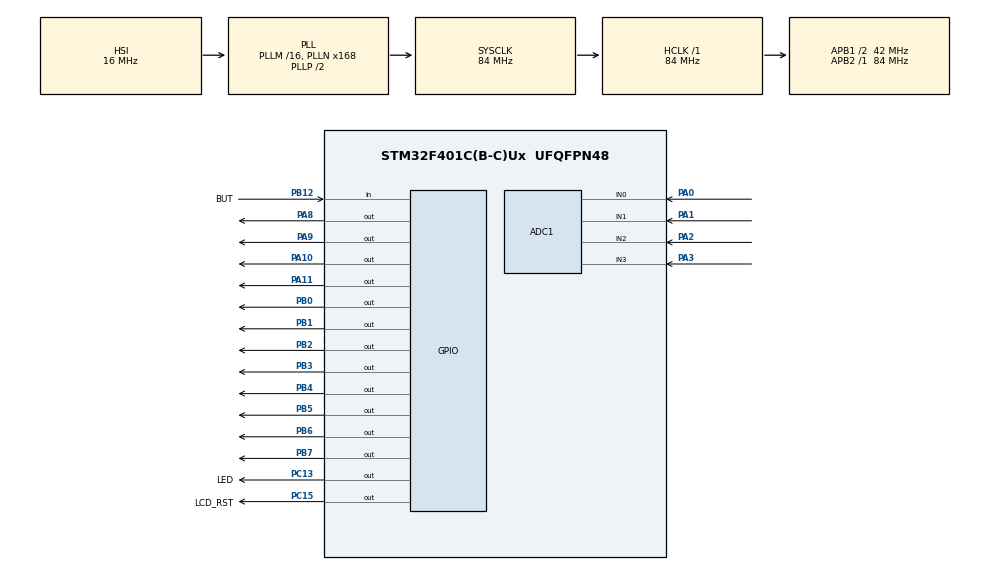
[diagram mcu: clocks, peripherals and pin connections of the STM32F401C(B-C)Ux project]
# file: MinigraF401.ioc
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ADC1.Channel-0\#ChannelRegularConversion=ADC_CHANNEL_0
ADC1.Channel-1\#ChannelRegularConversion=ADC_CHANNEL_1
ADC1.Channel-2\#ChannelRegularConversion=ADC_CHANNEL_2
ADC1.Channel-3\#ChannelRegularConversion=ADC_CHANNEL_3
ADC1.ContinuousConvMode=DISABLE
ADC1.DMAContinuousRequests=ENABLE
ADC1.EOCSelection=ADC_EOC_SEQ_CONV
ADC1.NbrOfConversion=4
ADC1.NbrOfConversionFlag=1
ADC1.Rank-0\#ChannelRegularConversion=1
ADC1.Rank-1\#ChannelRegularConversion=2
ADC1.Rank-2\#ChannelRegularConversion=3
ADC1.Rank-3\#ChannelRegularConversion=4
ADC1.SamplingTime-0\#ChannelRegularConversion=ADC_SAMPLETIME_3CYCLES
ADC1.SamplingTime-1\#ChannelRegularConversion=ADC_SAMPLETIME_3CYCLES
ADC1.SamplingTime-2\#ChannelRegularConversion=ADC_SAMPLETIME_3CYCLES
ADC1.SamplingTime-3\#ChannelRegularConversion=ADC_SAMPLETIME_3CYCLES
ADC1.ScanConvMode=ENABLE
ADC1.master=1
Dma.ADC1.0.Direction=DMA_PERIPH_TO_MEMORY
Dma.ADC1.0.FIFOMode=DMA_FIFOMODE_DISABLE
Dma.ADC1.0.Instance=DMA2_Stream0
Dma.ADC1.0.MemDataAlignment=DMA_MDATAALIGN_HALFWORD
Dma.ADC1.0.MemInc=DMA_MINC_ENABLE
Dma.ADC1.0.Mode=DMA_CIRCULAR
Dma.ADC1.0.PeriphDataAlignment=DMA_PDATAALIGN_HALFWORD
Dma.ADC1.0.PeriphInc=DMA_PINC_DISABLE
Dma.ADC1.0.Priority=DMA_PRIORITY_LOW
Dma.Request0=ADC1
Mcu.Family=STM32F4
Mcu.Name=STM32F401C(B-C)Ux
Mcu.Package=UFQFPN48
NVIC.DMA2_Stream0_IRQn=true\:0\:0\:false\:false\:true\:false\:true\:true
NVIC.PriorityGroup=NVIC_PRIORITYGROUP_4
PA0-WKUP.Signal=ADCx_IN0
PA1.Signal=ADCx_IN1
PA10.Signal=GPIO_Output
PA11.Signal=GPIO_Output
PA13.Mode=Serial_Wire
PA13.Signal=SYS_JTMS-SWDIO
PA14.Mode=Serial_Wire
PA14.Signal=SYS_JTCK-SWCLK
PA2.Signal=ADCx_IN2
PA3.Signal=ADCx_IN3
PA8.Signal=GPIO_Output
PA9.Signal=GPIO_Output
PB0.Signal=GPIO_Output
PB1.Signal=GPIO_Output
PB12.GPIO_Label=BUT
PB12.GPIO_PuPd=GPIO_PULLUP
PB12.Signal=GPIO_Input
PB2.Signal=GPIO_Output
PB3.Signal=GPIO_Output
PB4.Signal=GPIO_Output
PB5.Signal=GPIO_Output
PB6.Signal=GPIO_Output
PB7.Signal=GPIO_Output
PC13-ANTI_TAMP.GPIO_Label=LED
PC13-ANTI_TAMP.Signal=GPIO_Output
PC15-OSC32_OUT.GPIO_Label=LCD_RST
PC15-OSC32_OUT.Signal=GPIO_Output
PH0\ -\ OSC_IN.Mode=HSE-External-Oscillator
PH0\ -\ OSC_IN.Signal=RCC_OSC_IN
PH1\ -\ OSC_OUT.Mode=HSE-External-Oscillator
PH1\ -\ OSC_OUT.Signal=RCC_OSC_OUT
ProjectManager.HeapSize=0x200
ProjectManager.StackSize=0x400
ProjectManager.TargetToolchain=STM32CubeIDE
RCC.48MHZClocksFreq_Value=42000000
RCC.AHBFreq_Value=84000000
RCC.APB1CLKDivider=RCC_HCLK_DIV2
RCC.APB1Freq_Value=42000000
RCC.APB1TimFreq_Value=84000000
RCC.APB2Freq_Value=84000000
RCC.APB2TimFreq_Value=84000000
RCC.CortexFreq_Value=84000000
RCC.HCLKFreq_Value=84000000
RCC.HSE_VALUE=25000000
RCC.HSI_VALUE=16000000
RCC.LSE_VALUE=32768
RCC.PLLN=168
RCC.SYSCLKFreq_VALUE=84000000
RCC.SYSCLKSource=RCC_SYSCLKSOURCE_PLLCLK
RCC.VCOOutputFreq_Value=168000000
SH.ADCx_IN0.0=ADC1_IN0,IN0
SH.ADCx_IN1.0=ADC1_IN1,IN1
SH.ADCx_IN2.0=ADC1_IN2,IN2
SH.ADCx_IN3.0=ADC1_IN3,IN3
board=custom

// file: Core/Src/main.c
/* USER CODE BEGIN Header */
/* Mięsko jest w Core / LCD
Pliki z cionkami (default font, FreeSans... itd.) zawierają cionki, nie przejmuj się
Plik Graphics.h zawiera najbardziej podstawowe funkcje graficzne. Nie przejmuj się
Plik LCDfonts.h obsługuje pisanie napisów na ekranie. Nie musisz się przejmować
Plik LCDheader.h to mięsko sterowania wyświetlaczem. Nie musisz się przejmować
Plik pianyizydor.h zawiera prawie całą minigrę. Są definicje wymiarów, wielkości, parametrów mechanik itp.,
są zdefiniowane grafiki, dźwięki. Są wszystkie funkcje odpowiadające za grę.
Plik main.h zawiera includy, interwał wyświetlania i w sumie tyle
Plik defines.h zawiera parametry nie związane bezpośrednio z grą, bardziej ze sprzętem
Plik peryferia.h to w sumie tylko guziczek
Plik random.h zawiera generator liczb pseudolosowych, bo ten konkretny STM nie ma RNG
*/
/* USER CODE END Header */
#include "main.h"

/* USER CODE BEGIN Includes */
#include<stdio.h>
#include<stdbool.h>
#include<string.h>
#include<math.h>

#include "defines.h"
#include "peryferia.h"
#include "LCD/LCDheader.h"
#include "LCD/LCDfonts.h"
#include "LCD/FreeMono9pt7b.h"
#include "LCD/FreeSansBoldOblique9pt7b.h"
#include "LCD/FreeSansBold18pt7b.h"
#include "LCD/FreeSansBold24pt7b.h"
#include "LCD/FreeSansBold29pt7b.h"
#include "LCD/Graphics.h"
#include"random.h"
#ifdef MINIGRA
#include "LCD/pianyizydor.h"
#endif
/* USER CODE END Includes */

ADC_HandleTypeDef hadc1;
DMA_HandleTypeDef hdma_adc1;

void SystemClock_Config(void);
static void MX_GPIO_Init(void);
static void MX_DMA_Init(void);
static void MX_ADC1_Init(void);

/* USER CODE BEGIN 0 */
void testLCD() { // odpal żeby przetestować wyświetlacz
	// Na gotowo trzeba to wywalić bo brzydkie
	fillScreen(BLACK);
	setFont(DEF_FONT);
	cur_x = 100;
	cur_y = 100;
	txt_color = GREEN;
	naiveCusPrint("Kocham truskafki");
	uint16_t testcolor;
	uint16_t testpos;
	uint8_t pst, but;

	while (1)
	{
		testcolor+=2137;
		fillRect(testpos, 200, 10, 30, testcolor);
		testpos += 10;
		if(testpos >= SCR_WIDTH) testpos = 0;
		HAL_GPIO_TogglePin(GPIOC, GPIO_PIN_13);

		drawRect(0,0,400,240,GREEN);
		drawRect(1,1,398,238,RED);
		drawRect(2,2,396,236,BLUE);

		but = HAL_GPIO_ReadPin(GPIOB, GPIO_PIN_12);
		if(but != pst) {
			pst = but;
			fillRect(10, 10, 50, 50, but ? L_BLUE : ORANGE);
		}
		HAL_Delay(20);
	}
}

/* USER CODE END 0 */

int main(void)
{

  /* MCU Configuration--------------------------------------------------------*/

  /* Reset of all peripherals, Initializes the Flash interface and the Systick. */
  HAL_Init();

  /* Configure the system clock */
  SystemClock_Config();

  /* Initialize all configured peripherals */
  MX_GPIO_Init();
  MX_DMA_Init();
  MX_ADC1_Init();
  /* USER CODE BEGIN 2 */

  initDisplay();
  HAL_Delay(100);
  setRotation(1);
  setFont(DEF_FONT);

  HAL_ADC_Start_DMA(&hadc1, ADC_INS, ADC_N); // inicjalizuj DMA ADC
  //testLCD();
  /* USER CODE END 2 */

  /* Infinite loop */
  while (1)
  {

    /* USER CODE BEGIN 3 */
	  if(HAL_GetTick() >= scrTimer) { // jeśli wybił interwał odświeżania ekranu
		  scrTimer = HAL_GetTick() + DISPLAY_INT; // ustaw czas następnego odświeżenia ekranu

		  if(menu[1] != menu[0]) { // jeśli zmienił się wyświetlany ekran
			  switch(menu[0]) {
			  case HOME_INDEX: // ekran startowy minigry
				  minigraEkranStartowy(1, 0);
				  break;

			  case GAME_INDEX: // ekran minigry
				  minigraGenerateScreen();
				  break;
			  }
			  menu[1] = menu[0];
		  }

		  switch(menu[0]) { // odśwież dane wyświetlane na ekranie
		  case GAME_INDEX: // ekran minigry
			  minigraRefreshScreen();
			  break;

		  case HOME_INDEX: // ekran startowy minigry
			  minigraEkranStartowy(0, 0);
			  break;
		  }
	  }

	  switch(menu[0]) { // rola przycisku
	  case HOME_INDEX:
		  if(but(0)) {
			  menu[0] = GAME_INDEX;
			  //butLock(0);
		  }
		  break;
	  case GAME_INDEX:
		   break;
	  }
	  //releaseButLock();

  }
  /* USER CODE END 3 */
}

void SystemClock_Config(void)
{
  RCC_OscInitTypeDef RCC_OscInitStruct = {0};
  RCC_ClkInitTypeDef RCC_ClkInitStruct = {0};

  /** Configure the main internal regulator output voltage
  */
  __HAL_RCC_PWR_CLK_ENABLE();
  __HAL_PWR_VOLTAGESCALING_CONFIG(PWR_REGULATOR_VOLTAGE_SCALE2);

  /** Initializes the RCC Oscillators according to the specified parameters
  * in the RCC_OscInitTypeDef structure.
  */
  RCC_OscInitStruct.OscillatorType = RCC_OSCILLATORTYPE_HSI;
  RCC_OscInitStruct.HSIState = RCC_HSI_ON;
  RCC_OscInitStruct.HSICalibrationValue = RCC_HSICALIBRATION_DEFAULT;
  RCC_OscInitStruct.PLL.PLLState = RCC_PLL_ON;
  RCC_OscInitStruct.PLL.PLLSource = RCC_PLLSOURCE_HSI;
  RCC_OscInitStruct.PLL.PLLM = 16;
  RCC_OscInitStruct.PLL.PLLN = 168;
  RCC_OscInitStruct.PLL.PLLP = RCC_PLLP_DIV2;
  RCC_OscInitStruct.PLL.PLLQ = 4;
  if (HAL_RCC_OscConfig(&RCC_OscInitStruct) != HAL_OK)
  {
    Error_Handler();
  }

  /** Initializes the CPU, AHB and APB buses clocks
  */
  RCC_ClkInitStruct.ClockType = RCC_CLOCKTYPE_HCLK|RCC_CLOCKTYPE_SYSCLK
                              |RCC_CLOCKTYPE_PCLK1|RCC_CLOCKTYPE_PCLK2;
  RCC_ClkInitStruct.SYSCLKSource = RCC_SYSCLKSOURCE_PLLCLK;
  RCC_ClkInitStruct.AHBCLKDivider = RCC_SYSCLK_DIV1;
  RCC_ClkInitStruct.APB1CLKDivider = RCC_HCLK_DIV2;
  RCC_ClkInitStruct.APB2CLKDivider = RCC_HCLK_DIV1;

  if (HAL_RCC_ClockConfig(&RCC_ClkInitStruct, FLASH_LATENCY_2) != HAL_OK)
  {
    Error_Handler();
  }
}

static void MX_ADC1_Init(void)
{

  ADC_ChannelConfTypeDef sConfig = {0};

  /** Configure the global features of the ADC (Clock, Resolution, Data Alignment and number of conversion)
  */
  hadc1.Instance = ADC1;
  hadc1.Init.ClockPrescaler = ADC_CLOCK_SYNC_PCLK_DIV4;
  hadc1.Init.Resolution = ADC_RESOLUTION_12B;
  hadc1.Init.ScanConvMode = ENABLE;
  hadc1.Init.ContinuousConvMode = DISABLE;
  hadc1.Init.DiscontinuousConvMode = DISABLE;
  hadc1.Init.ExternalTrigConvEdge = ADC_EXTERNALTRIGCONVEDGE_NONE;
  hadc1.Init.ExternalTrigConv = ADC_SOFTWARE_START;
  hadc1.Init.DataAlign = ADC_DATAALIGN_RIGHT;
  hadc1.Init.NbrOfConversion = 4;
  hadc1.Init.DMAContinuousRequests = ENABLE;
  hadc1.Init.EOCSelection = ADC_EOC_SEQ_CONV;
  if (HAL_ADC_Init(&hadc1) != HAL_OK)
  {
    Error_Handler();
  }

  /** Configure for the selected ADC regular channel its corresponding rank in the sequencer and its sample time.
  */
  sConfig.Channel = ADC_CHANNEL_0;
  sConfig.Rank = 1;
  sConfig.SamplingTime = ADC_SAMPLETIME_3CYCLES;
  if (HAL_ADC_ConfigChannel(&hadc1, &sConfig) != HAL_OK)
  {
    Error_Handler();
  }

  /** Configure for the selected ADC regular channel its corresponding rank in the sequencer and its sample time.
  */
  sConfig.Channel = ADC_CHANNEL_1;
  sConfig.Rank = 2;
  if (HAL_ADC_ConfigChannel(&hadc1, &sConfig) != HAL_OK)
  {
    Error_Handler();
  }

  /** Configure for the selected ADC regular channel its corresponding rank in the sequencer and its sample time.
  */
  sConfig.Channel = ADC_CHANNEL_2;
  sConfig.Rank = 3;
  if (HAL_ADC_ConfigChannel(&hadc1, &sConfig) != HAL_OK)
  {
    Error_Handler();
  }

  /** Configure for the selected ADC regular channel its corresponding rank in the sequencer and its sample time.
  */
  sConfig.Channel = ADC_CHANNEL_3;
  sConfig.Rank = 4;
  if (HAL_ADC_ConfigChannel(&hadc1, &sConfig) != HAL_OK)
  {
    Error_Handler();
  }

}

static void MX_DMA_Init(void)
{

  /* DMA controller clock enable */
  __HAL_RCC_DMA2_CLK_ENABLE();

  /* DMA interrupt init */
  /* DMA2_Stream0_IRQn interrupt configuration */
  HAL_NVIC_SetPriority(DMA2_Stream0_IRQn, 0, 0);
  HAL_NVIC_EnableIRQ(DMA2_Stream0_IRQn);

}

static void MX_GPIO_Init(void)
{
  GPIO_InitTypeDef GPIO_InitStruct = {0};

  /* GPIO Ports Clock Enable */
  __HAL_RCC_GPIOC_CLK_ENABLE();
  __HAL_RCC_GPIOH_CLK_ENABLE();
  __HAL_RCC_GPIOA_CLK_ENABLE();
  __HAL_RCC_GPIOB_CLK_ENABLE();

  /*Configure GPIO pin Output Level */
  HAL_GPIO_WritePin(GPIOC, LED_Pin|LCD_RST_Pin, GPIO_PIN_RESET);

  /*Configure GPIO pin Output Level */
  HAL_GPIO_WritePin(GPIOB, GPIO_PIN_0|GPIO_PIN_1|GPIO_PIN_2|GPIO_PIN_3
                          |GPIO_PIN_4|GPIO_PIN_5|GPIO_PIN_6|GPIO_PIN_7, GPIO_PIN_RESET);

  /*Configure GPIO pin Output Level */
  HAL_GPIO_WritePin(GPIOA, GPIO_PIN_8|GPIO_PIN_9|GPIO_PIN_10|GPIO_PIN_11, GPIO_PIN_RESET);

  /*Configure GPIO pins : LED_Pin LCD_RST_Pin */
  GPIO_InitStruct.Pin = LED_Pin|LCD_RST_Pin;
  GPIO_InitStruct.Mode = GPIO_MODE_OUTPUT_PP;
  GPIO_InitStruct.Pull = GPIO_NOPULL;
  GPIO_InitStruct.Speed = GPIO_SPEED_FREQ_LOW;
  HAL_GPIO_Init(GPIOC, &GPIO_InitStruct);

  /*Configure GPIO pins : PB0 PB1 PB2 PB3
                           PB4 PB5 PB6 PB7 */
  GPIO_InitStruct.Pin = GPIO_PIN_0|GPIO_PIN_1|GPIO_PIN_2|GPIO_PIN_3
                          |GPIO_PIN_4|GPIO_PIN_5|GPIO_PIN_6|GPIO_PIN_7;
  GPIO_InitStruct.Mode = GPIO_MODE_OUTPUT_PP;
  GPIO_InitStruct.Pull = GPIO_NOPULL;
  GPIO_InitStruct.Speed = GPIO_SPEED_FREQ_LOW;
  HAL_GPIO_Init(GPIOB, &GPIO_InitStruct);

  /*Configure GPIO pin : BUT_Pin */
  GPIO_InitStruct.Pin = BUT_Pin;
  GPIO_InitStruct.Mode = GPIO_MODE_INPUT;
  GPIO_InitStruct.Pull = GPIO_PULLUP;
  HAL_GPIO_Init(BUT_GPIO_Port, &GPIO_InitStruct);

  /*Configure GPIO pins : PA8 PA9 PA10 PA11 */
  GPIO_InitStruct.Pin = GPIO_PIN_8|GPIO_PIN_9|GPIO_PIN_10|GPIO_PIN_11;
  GPIO_InitStruct.Mode = GPIO_MODE_OUTPUT_PP;
  GPIO_InitStruct.Pull = GPIO_NOPULL;
  GPIO_InitStruct.Speed = GPIO_SPEED_FREQ_LOW;
  HAL_GPIO_Init(GPIOA, &GPIO_InitStruct);

}

void Error_Handler(void)
{
  __disable_irq();
  while (1)
  {
  }
}
